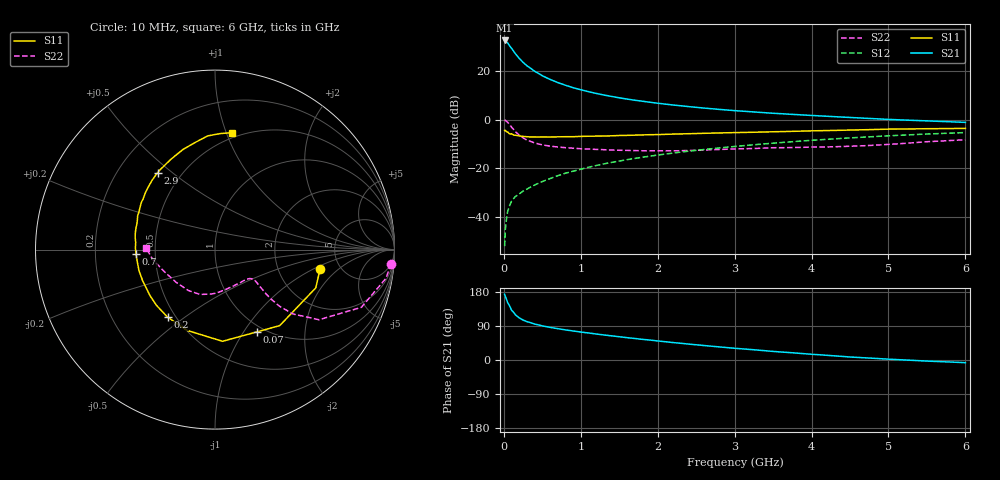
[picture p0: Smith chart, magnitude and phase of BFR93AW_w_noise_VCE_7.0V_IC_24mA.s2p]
! Infineon Technologies  Discrete & RF Semiconductors
! BFR93AW
! VCE =  7.0 V,  IC =  24 mA
! Common Emitter S-Parameters:  Jan 2017
# GHz  S  MA  R  50
!  f  S11  S21  S12  S22
! GHz  MAG  ANG  MAG  ANG  MAG  ANG  MAG  ANG
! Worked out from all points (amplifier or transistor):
!   77 points, 10 MHz to 6 GHz, reference 50 ohm
!   highest |S21| = 32.5 dB at 10 MHz (marker M1)
!   |S21| within 3 dB of that: start of sweep to 93.85 MHz
!   unconditionally stable (mu >= 1): 666.6 MHz to 2.038 GHz
!   at 130 MHz: K = 0.47, MSG = 30.2 dB, |S12| = -32.4 dB
!   at 2.2 GHz: K = 0.99, MSG = 9.9 dB, |S12| = -13.8 dB
!   at 6 GHz: K = 0.87, MSG = 2.1 dB, |S12| = -5.4 dB
!   lowest NFmin = 1.63 dB at 450 MHz
!   S11 on the Smith chart (normalised r, x): 10 MHz: 3.52, -1.17; 70 MHz: 0.92, -1.15; 200 MHz: 0.45, -0.43; 700 MHz: 0.39, -0.02; 2.9 GHz: 0.37, +0.45; 6 GHz: 0.46, +1.05
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0.01  0.5952 -10.4  42.15 173.3  0.0025 87.4  0.9822 -4.6
0.02  0.6007 -20.8  41.82 167.6  0.0055 86.6  0.967 -9.4
0.05  0.5561 -49.6  37.42 151.1  0.013 72.0  0.8767 -21.5
0.07  0.5143 -63.1  33.61 144.4  0.0161 66.5  0.8013 -25.8
0.1  0.5126 -85.3  29.02 131.5  0.0209 61.4  0.6991 -34.0
0.15  0.4762 -109.1  22.54 119.3  0.0262 58.4  0.5643 -39.5
0.2  0.4598 -125.1  18.05 111.2  0.0296 59.3  0.4774 -41.3
0.25  0.4504 -136.5  14.99 105.4  0.0338 58.7  0.4197 -41.4
0.3  0.4434 -145.0  12.73 101.2  0.0372 59.9  0.3784 -41.0
0.4  0.439 -156.6  9.817 94.8  0.045 62.7  0.3303 -39.6
0.5  0.4395 -164.7  7.936 90.1  0.0531 65.1  0.3015 -38.5
0.6  0.4382 -171.5  6.683 86.1  0.0612 66.4  0.2843 -37.8
0.7  0.4408 -176.7  5.758 82.7  0.0701 67.8  0.2726 -37.7
0.9  0.4437 174.8  4.512 76.6  0.0867 68.7  0.2575 -39.0
1.1  0.4539 167.8  3.739 71.3  0.1046 69.0  0.2474 -41.2
1.5  0.4701 156.5  2.795 61.4  0.1402 67.9  0.2337 -49.1
2.1  0.4958 142.5  2.074 48.2  0.1953 64.5  0.2271 -66.5
2.9  0.5345 126.7  1.569 32.8  0.27 58.1  0.2454 -91.9
3.1  0.5424 123.0  1.486 29.4  0.2888 56.3  0.2505 -97.7
4.1  0.5893 106.2  1.19 13.8  0.3832 46.4  0.2723 -126.6
5.1  0.6369 92.3  0.992 1.2  0.4708 35.4  0.3155 -160.0
6  0.658 81.7  0.874 -7.1  0.5399 25.2  0.3856 178.4
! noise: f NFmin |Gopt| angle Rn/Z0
0.45  1.63  0.16  169  0.16
0.9  1.9  0.24  180  0.16
1.9  2.91  0.49  -137  0.25
2.4  3.56  0.55  -125  0.49
